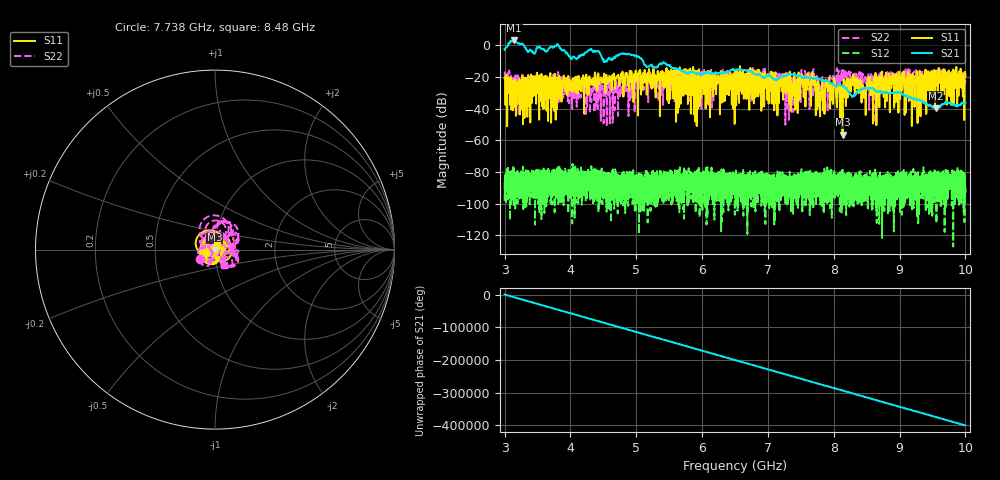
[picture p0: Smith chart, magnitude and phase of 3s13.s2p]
!Agilent Technologies,E8363B,MY43030572,A.06.04.32
!Agilent E8363B: A.06.04.32
!Date: Monday, June 06, 2011 14:42:31
!Correction: S11(Full 2 Port(1,2)) S21(Full 2 Port(1,2)) S12(Full 2 Port(1,2)) S22(Full 2 Port(1,2))
!S2P File: Measurements: S11, S21, S12, S22:
# Hz S  dB  R 50
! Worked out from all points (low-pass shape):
!   6401 points, 3 GHz to 10 GHz, reference 50 ohm
!   highest |S21| = 3.16 dB at 3.147 GHz (marker M1); lowest = -39.7 dB at 9.547 GHz (marker M2)
!   |S21| within 3 dB of the highest: 3.051 GHz to 3.29 GHz (239.2 MHz wide, 7.54 % of centre); 3.790881 GHz to 3.807288 GHz (16.41 MHz wide, 0.432 % of centre)
!   lowest |S11| = -56.4 dB at 8.134 GHz (marker M3), VSWR 1.00, Z = 49.9 - j0.0964 ohm
!   |S11| at or under -10 dB: start of sweep to end of sweep
!   |S22| runs from -51.2 to -14.3 dB; largest |S21 - S12| = 1.4
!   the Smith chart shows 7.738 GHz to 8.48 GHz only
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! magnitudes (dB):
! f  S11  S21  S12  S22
! 3 GHz  -20.8  -2.2  -98.2  -16.4
! 3.147 GHz  -34.1  3.2  -81.9  -27.9
! 3.436 GHz  -31.6  -4.5  -78.6  -24.0
! 3.795 GHz  -40.2  0.3  -86.5  -25.5
! 4.167 GHz  -22.4  -6.2  -80.7  -24.2
! 4.648 GHz  -21.2  -8.1  -85.1  -29.1
! 4.871 GHz  -25.0  -5.4  -88.7  -23.3
! 5.131 GHz  -16.2  -12.3  -86.8  -19.3
! 5.334 GHz  -19.3  -12.6  -89.2  -30.2
! 6.5 GHz  -19.1  -15.6  -96.4  -21.7
! 7.052 GHz  -22.6  -19.7  -89.2  -18.0
! 7.352 GHz  -29.0  -18.1  -86.6  -20.5
! 7.667 GHz  -17.9  -20.6  -88.1  -18.8
! 7.761 GHz  -22.4  -21.1  -92.4  -22.0
! 7.904 GHz  -26.9  -22.5  -94.2  -30.4
! 8.134 GHz  -56.4  -25.3  -87.8  -23.2
! 8.275 GHz  -22.6  -32.2  -91.8  -19.8
! 8.455 GHz  -27.3  -27.2  -85.8  -21.7
! 8.543 GHz  -20.0  -27.5  -92.6  -23.9
! 8.834 GHz  -19.4  -30.0  -83.6  -20.8
! 9.547 GHz  -16.7  -39.7  -84.1  -19.7
! 10 GHz  -19.3  -35.9  -88.3  -19.5
